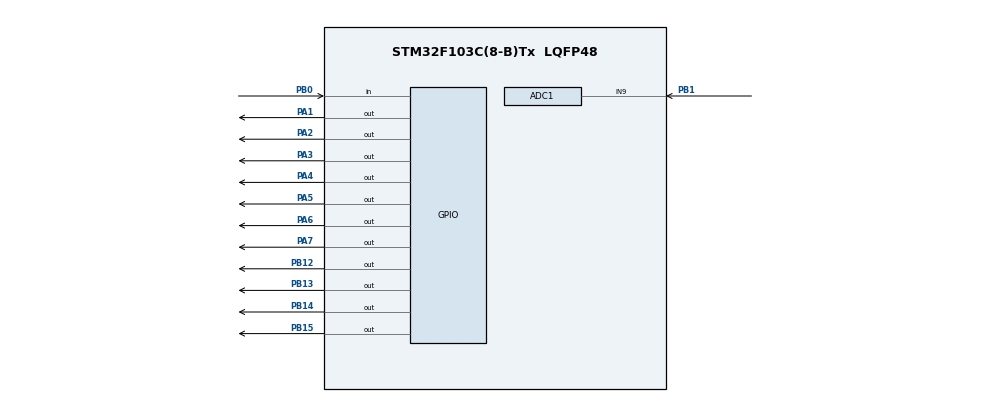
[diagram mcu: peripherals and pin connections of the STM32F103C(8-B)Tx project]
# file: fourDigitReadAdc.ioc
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ADC1.Channel-1\#ChannelRegularConversion=ADC_CHANNEL_9
ADC1.ContinuousConvMode=ENABLE
ADC1.NbrOfConversionFlag=1
ADC1.Rank-1\#ChannelRegularConversion=1
ADC1.SamplingTime-1\#ChannelRegularConversion=ADC_SAMPLETIME_1CYCLE_5
ADC1.master=1
Mcu.Family=STM32F1
Mcu.Name=STM32F103C(8-B)Tx
Mcu.Package=LQFP48
NVIC.PriorityGroup=NVIC_PRIORITYGROUP_4
PA1.Signal=GPIO_Output
PA10.Signal=USART1_RX
PA2.Signal=GPIO_Output
PA3.Signal=GPIO_Output
PA4.Signal=GPIO_Output
PA5.Signal=GPIO_Output
PA6.Signal=GPIO_Output
PA7.Signal=GPIO_Output
PA9.Signal=USART1_TX
PB0.Signal=GPIO_Input
PB1.Signal=ADCx_IN9
PB12.Signal=GPIO_Output
PB13.Signal=GPIO_Output
PB14.Signal=GPIO_Output
PB15.Signal=GPIO_Output
ProjectManager.HeapSize=0x200
ProjectManager.StackSize=0x400
ProjectManager.TargetToolchain=STM32CubeIDE
RCC.APB1Freq_Value=8000000
RCC.APB2Freq_Value=8000000
SH.ADCx_IN9.0=ADC1_IN9,IN9
board=custom

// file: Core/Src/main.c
/* USER CODE BEGIN Header */
/**
 ******************************************************************************
 * @file           : main.c
 * @brief          : Main program body
 ******************************************************************************
 * @attention
 *
 * Copyright (c) 2024 STMicroelectronics.
 * All rights reserved.
 *
 * This software is licensed under terms that can be found in the LICENSE file
 * in the root directory of this software component.
 * If no LICENSE file comes with this software, it is provided AS-IS.
 *
 ******************************************************************************
 */
/* USER CODE END Header */
#include "main.h"

/* USER CODE BEGIN Includes */
#include "string.h"
#include "stdlib.h"
#include "stdio.h"
#include <stdlib.h>
/* USER CODE END Includes */

ADC_HandleTypeDef hadc1;

/* USER CODE BEGIN PV */
// every time that button pushed this variable increases
/* USER CODE END PV */

void
SystemClock_Config (void);
static void
MX_GPIO_Init (void);
static void
MX_ADC1_Init (void);
/* USER CODE BEGIN PFP */
// This variable take the buttonInc value and white a help of while loop divide it into 4 digit
long long int dividToFourDigit = 0;
uint16_t readAdc = 0;
/* USER CODE END PFP */

int
main (void)
{

  /* MCU Configuration--------------------------------------------------------*/

  /* Reset of all peripherals, Initializes the Flash interface and the Systick. */
  HAL_Init ();

  /* Configure the system clock */
  SystemClock_Config ();

  /* Initialize all configured peripherals */
  MX_GPIO_Init ();
  MX_ADC1_Init ();
  /* USER CODE BEGIN 2 */
  HAL_ADC_Start (&hadc1);
  /* USER CODE END 2 */

  /* Infinite loop */
  /* USER CODE BEGIN WHILE */

  uint16_t Select = GPIO_PIN_12;

  int i = 0;
  int j = 0;
  // when you give any index of an array to digitaWrite you can change many pin with one digitalWrite.
  int segment[] =
    { 0b01111110, 0b00001100, 0b10110110, 0b10011110, 0b11001100, 0b11011010,
	0b11111010, 0b00001110, 0b11111110, 0b11011110 };
  // The value of 4 digits of seven segment
  int digit[4] =
    { 0 };
  int k = 0;
  while (1)
    {

      k++;
      if (k >= 3000)
	{
	  HAL_ADC_PollForConversion (&hadc1, 0);
	  readAdc = HAL_ADC_GetValue (&hadc1);
	  k = 0;
	}

      dividToFourDigit = 123;

      if (dividToFourDigit > 9999)
	{
	  dividToFourDigit = 0;
	  memset (digit, 0, sizeof(digit));
	}

      // This while take the full number and divide it to four digit in digit[i] array.
      // At the end
      while (dividToFourDigit > 0)
	{
	  digit[i] = dividToFourDigit % 10;
	  dividToFourDigit = dividToFourDigit / 10;
	  i++;
	}
      HAL_Delay (3);
      MX_GPIO_Init ();
      HAL_GPIO_WritePin (GPIOB, Select, 1);
      HAL_GPIO_WritePin (GPIOA, segment[digit[j]], 1);
      j++;
      if (j > 3)
	j = 0;
      if (Select == 0x8000)
	{
	  Select = 0x1000;
	  continue;
	}
      // Toggle between select pin of four digit seven segment
      Select = Select << 1;

    }
  /* USER CODE END WHILE */

}

void
SystemClock_Config (void)
{
  RCC_OscInitTypeDef RCC_OscInitStruct =
    { 0 };
  RCC_ClkInitTypeDef RCC_ClkInitStruct =
    { 0 };
  RCC_PeriphCLKInitTypeDef PeriphClkInit =
    { 0 };

  /** Initializes the RCC Oscillators according to the specified parameters
   * in the RCC_OscInitTypeDef structure.
   */
  RCC_OscInitStruct.OscillatorType = RCC_OSCILLATORTYPE_HSI;
  RCC_OscInitStruct.HSIState = RCC_HSI_ON;
  RCC_OscInitStruct.HSICalibrationValue = RCC_HSICALIBRATION_DEFAULT;
  RCC_OscInitStruct.PLL.PLLState = RCC_PLL_NONE;
  if (HAL_RCC_OscConfig (&RCC_OscInitStruct) != HAL_OK)
    {
      Error_Handler ();
    }

  /** Initializes the CPU, AHB and APB buses clocks
   */
  RCC_ClkInitStruct.ClockType = RCC_CLOCKTYPE_HCLK | RCC_CLOCKTYPE_SYSCLK
      | RCC_CLOCKTYPE_PCLK1 | RCC_CLOCKTYPE_PCLK2;
  RCC_ClkInitStruct.SYSCLKSource = RCC_SYSCLKSOURCE_HSI;
  RCC_ClkInitStruct.AHBCLKDivider = RCC_SYSCLK_DIV1;
  RCC_ClkInitStruct.APB1CLKDivider = RCC_HCLK_DIV1;
  RCC_ClkInitStruct.APB2CLKDivider = RCC_HCLK_DIV1;

  if (HAL_RCC_ClockConfig (&RCC_ClkInitStruct, FLASH_LATENCY_0) != HAL_OK)
    {
      Error_Handler ();
    }
  PeriphClkInit.PeriphClockSelection = RCC_PERIPHCLK_ADC;
  PeriphClkInit.AdcClockSelection = RCC_ADCPCLK2_DIV2;
  if (HAL_RCCEx_PeriphCLKConfig (&PeriphClkInit) != HAL_OK)
    {
      Error_Handler ();
    }
}

static void
MX_ADC1_Init (void)
{

  ADC_ChannelConfTypeDef sConfig =
    { 0 };

  /** Common config
   */
  hadc1.Instance = ADC1;
  hadc1.Init.ScanConvMode = ADC_SCAN_DISABLE;
  hadc1.Init.ContinuousConvMode = ENABLE;
  hadc1.Init.DiscontinuousConvMode = DISABLE;
  hadc1.Init.ExternalTrigConv = ADC_SOFTWARE_START;
  hadc1.Init.DataAlign = ADC_DATAALIGN_RIGHT;
  hadc1.Init.NbrOfConversion = 1;
  if (HAL_ADC_Init (&hadc1) != HAL_OK)
    {
      Error_Handler ();
    }

  /** Configure Regular Channel
   */
  sConfig.Channel = ADC_CHANNEL_9;
  sConfig.Rank = ADC_REGULAR_RANK_1;
  sConfig.SamplingTime = ADC_SAMPLETIME_1CYCLE_5;
  if (HAL_ADC_ConfigChannel (&hadc1, &sConfig) != HAL_OK)
    {
      Error_Handler ();
    }

}

static void
MX_GPIO_Init (void)
{
  GPIO_InitTypeDef GPIO_InitStruct =
    { 0 };

  /* GPIO Ports Clock Enable */
  __HAL_RCC_GPIOA_CLK_ENABLE();
  __HAL_RCC_GPIOB_CLK_ENABLE();

  /*Configure GPIO pin Output Level */
  HAL_GPIO_WritePin (
      GPIOA,
      GPIO_PIN_1 | GPIO_PIN_2 | GPIO_PIN_3 | GPIO_PIN_4 | GPIO_PIN_5
	  | GPIO_PIN_6 | GPIO_PIN_7,
      GPIO_PIN_RESET);

  /*Configure GPIO pin Output Level */
  HAL_GPIO_WritePin (GPIOB,
  GPIO_PIN_12 | GPIO_PIN_13 | GPIO_PIN_14 | GPIO_PIN_15,
		     GPIO_PIN_RESET);

  /*Configure GPIO pins : PA1 PA2 PA3 PA4
   PA5 PA6 PA7 */
  GPIO_InitStruct.Pin = GPIO_PIN_1 | GPIO_PIN_2 | GPIO_PIN_3 | GPIO_PIN_4
      | GPIO_PIN_5 | GPIO_PIN_6 | GPIO_PIN_7;
  GPIO_InitStruct.Mode = GPIO_MODE_OUTPUT_PP;
  GPIO_InitStruct.Pull = GPIO_NOPULL;
  GPIO_InitStruct.Speed = GPIO_SPEED_FREQ_LOW;
  HAL_GPIO_Init (GPIOA, &GPIO_InitStruct);

  /*Configure GPIO pin : PB0 */
  GPIO_InitStruct.Pin = GPIO_PIN_0;
  GPIO_InitStruct.Mode = GPIO_MODE_INPUT;
  GPIO_InitStruct.Pull = GPIO_NOPULL;
  HAL_GPIO_Init (GPIOB, &GPIO_InitStruct);

  /*Configure GPIO pins : PB12 PB13 PB14 PB15 */
  GPIO_InitStruct.Pin = GPIO_PIN_12 | GPIO_PIN_13 | GPIO_PIN_14 | GPIO_PIN_15;
  GPIO_InitStruct.Mode = GPIO_MODE_OUTPUT_PP;
  GPIO_InitStruct.Pull = GPIO_NOPULL;
  GPIO_InitStruct.Speed = GPIO_SPEED_FREQ_LOW;
  HAL_GPIO_Init (GPIOB, &GPIO_InitStruct);

  /*Configure GPIO pin : PA9 */
  GPIO_InitStruct.Pin = GPIO_PIN_9;
  GPIO_InitStruct.Mode = GPIO_MODE_AF_PP;
  GPIO_InitStruct.Speed = GPIO_SPEED_FREQ_HIGH;
  HAL_GPIO_Init (GPIOA, &GPIO_InitStruct);

  /*Configure GPIO pin : PA10 */
  GPIO_InitStruct.Pin = GPIO_PIN_10;
  GPIO_InitStruct.Mode = GPIO_MODE_INPUT;
  GPIO_InitStruct.Pull = GPIO_NOPULL;
  HAL_GPIO_Init (GPIOA, &GPIO_InitStruct);

}

void
Error_Handler (void)
{
  /* USER CODE BEGIN Error_Handler_Debug */
  /* User can add his own implementation to report the HAL error return state */
  __disable_irq ();
  while (1)
    {
    }
  /* USER CODE END Error_Handler_Debug */
}
